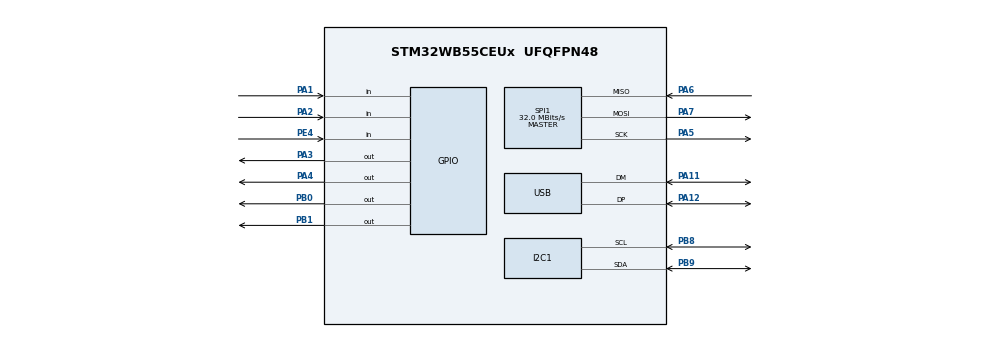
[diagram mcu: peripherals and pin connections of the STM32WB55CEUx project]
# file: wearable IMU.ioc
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I2C1.Timing=0x10B17DB5
Mcu.Family=STM32WB
Mcu.Name=STM32WB55CEUx
Mcu.Package=UFQFPN48
NVIC.PriorityGroup=NVIC_PRIORITYGROUP_4
NVIC.USB_LP_IRQn=true\:0\:0\:false\:false\:true\:false\:true\:true
OSC_IN.Mode=HSE-External-Oscillator
OSC_IN.Signal=RCC_OSC_IN
OSC_OUT.Mode=HSE-External-Oscillator
OSC_OUT.Signal=RCC_OSC_OUT
PA1.Signal=GPIO_Input
PA11.Mode=Device
PA11.Signal=USB_DM
PA12.Mode=Device
PA12.Signal=USB_DP
PA13.Mode=Trace_Asynchronous_SW
PA13.Signal=SYS_JTMS-SWDIO
PA14.Mode=Trace_Asynchronous_SW
PA14.Signal=SYS_JTCK-SWCLK
PA2.Signal=GPIO_Input
PA3.Signal=GPIO_Output
PA4.Signal=GPIO_Output
PA5.Mode=Full_Duplex_Master
PA5.Signal=SPI1_SCK
PA6.Mode=Full_Duplex_Master
PA6.Signal=SPI1_MISO
PA7.Mode=Full_Duplex_Master
PA7.Signal=SPI1_MOSI
PB0.Signal=GPIO_Output
PB1.Signal=GPIO_Output
PB3.Mode=Trace_Asynchronous_SW
PB3.Signal=SYS_JTDO-SWO
PB8.Mode=I2C
PB8.Signal=I2C1_SCL
PB9.Mode=I2C
PB9.Signal=I2C1_SDA
PC14-OSC32_IN.Mode=LSE-External-Oscillator
PC14-OSC32_IN.Signal=RCC_OSC32_IN
PC15-OSC32_OUT.Mode=LSE-External-Oscillator
PC15-OSC32_OUT.Signal=RCC_OSC32_OUT
PE4.Signal=GPIO_Input
ProjectManager.HeapSize=0x200
ProjectManager.StackSize=0x400
ProjectManager.TargetToolchain=STM32CubeIDE
RCC.ADCFreq_Value=48000000
RCC.AHB2CLKDivider=RCC_SYSCLK_DIV2
RCC.AHBFreq_Value=64000000
RCC.APB1Freq_Value=64000000
RCC.APB1TimFreq_Value=64000000
RCC.APB2Freq_Value=64000000
RCC.APB2TimFreq_Value=64000000
RCC.APB3Freq_Value=16000000
RCC.Cortex2_Div=SYSTICK_CLKSOURCE_HCLK_DIV8
RCC.CortexFreq_Value=64000000
RCC.HCLKFreq_Value=64000000
RCC.HSE_VALUE=32000000
RCC.HSI48_VALUE=48000000
RCC.HSI_VALUE=16000000
RCC.PLLN=32
RCC.PLLSAI1N=24
RCC.SYSCLKFreq_VALUE=64000000
RCC.SYSCLKSource=RCC_SYSCLKSOURCE_PLLCLK
RCC.USBFreq_Value=48000000
RCC.VCOOutputFreq_Value=128000000
SPI1.CalculateBaudRate=32.0 MBits/s
SPI1.Direction=SPI_DIRECTION_2LINES
SPI1.Mode=SPI_MODE_MASTER
SPI1.VirtualType=VM_MASTER
USB_DEVICE.CLASS_NAME_FS=CDC
USB_DEVICE.VirtualMode=Cdc
USB_DEVICE.VirtualModeFS=Cdc_FS
VP_MEMORYMAP_VS_MEMORYMAP.Mode=CurAppReg
VP_USB_DEVICE_VS_USB_DEVICE_CDC_FS.Mode=CDC_FS
board=custom

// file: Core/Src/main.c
/* USER CODE BEGIN Header */
/**
  ******************************************************************************
  * @file           : main.c
  * @brief          : Main program body
  ******************************************************************************
  * @attention
  *
  * Copyright (c) 2026 STMicroelectronics.
  * All rights reserved.
  *
  * This software is licensed under terms that can be found in the LICENSE file
  * in the root directory of this software component.
  * If no LICENSE file comes with this software, it is provided AS-IS.
  *
  ******************************************************************************
  */
/* USER CODE END Header */
#include "main.h"
#include "usb_device.h"

/* USER CODE BEGIN Includes */
#include "usbd_cdc_if.h"
#include <stdio.h>
#include <string.h>
#include "lsm6dsv16bx_reg.h"
#include "bmm350.h"
/* USER CODE END Includes */

/* USER CODE BEGIN PD */
#define LSM6_I2C_ADDR       0x6BU   /* SDO pin high */
#define BMM350_I2C_ADDR     BMM350_I2C_ADSEL_SET_LOW   /* 0x14: ADSEL pin low */
#define SENSOR_PERIOD_MS    20      /* 50 Hz */
/* USER CODE END PD */

I2C_HandleTypeDef hi2c1;

SPI_HandleTypeDef hspi1;

/* USER CODE BEGIN PV */
static stmdev_ctx_t lsm6_ctx;
static uint8_t lsm6_addr = LSM6_I2C_ADDR;
static struct bmm350_dev bmm350;
static uint8_t bmm350_addr = BMM350_I2C_ADDR;
/* USER CODE END PV */

void SystemClock_Config(void);
void PeriphCommonClock_Config(void);
static void MX_GPIO_Init(void);
static void MX_SPI1_Init(void);
static void MX_I2C1_Init(void);

/* USER CODE BEGIN 0 */

/* ── LSM6DSV16BX I2C callbacks ──────────────────────────────────────────── */
static int32_t lsm6_i2c_write(void *handle, uint8_t reg, const uint8_t *data, uint16_t len)
{
    uint8_t addr = *(uint8_t *)handle;
    HAL_StatusTypeDef st = HAL_I2C_Mem_Write(&hi2c1, (uint16_t)(addr << 1),
                                               reg, I2C_MEMADD_SIZE_8BIT,
                                               (uint8_t *)data, len, 100);
    return (st == HAL_OK) ? 0 : -1;
}

static int32_t lsm6_i2c_read(void *handle, uint8_t reg, uint8_t *data, uint16_t len)
{
    uint8_t addr = *(uint8_t *)handle;
    HAL_StatusTypeDef st = HAL_I2C_Mem_Read(&hi2c1, (uint16_t)(addr << 1),
                                              reg, I2C_MEMADD_SIZE_8BIT,
                                              data, len, 100);
    return (st == HAL_OK) ? 0 : -1;
}

static void lsm6_delay_ms(uint32_t ms)
{
    HAL_Delay(ms);
}

/* ── BMM350 I2C callbacks ────────────────────────────────────────────────── */
static BMM350_INTF_RET_TYPE bmm350_i2c_read(uint8_t reg_addr, uint8_t *reg_data, uint32_t len, void *intf_ptr)
{
    uint8_t addr = *(uint8_t *)intf_ptr;
    HAL_StatusTypeDef st = HAL_I2C_Mem_Read(&hi2c1, (uint16_t)(addr << 1),
                                              reg_addr, I2C_MEMADD_SIZE_8BIT,
                                              reg_data, (uint16_t)len, 100);
    return (st == HAL_OK) ? BMM350_OK : BMM350_E_COM_FAIL;
}

static BMM350_INTF_RET_TYPE bmm350_i2c_write(uint8_t reg_addr, const uint8_t *reg_data, uint32_t len, void *intf_ptr)
{
    uint8_t addr = *(uint8_t *)intf_ptr;
    HAL_StatusTypeDef st = HAL_I2C_Mem_Write(&hi2c1, (uint16_t)(addr << 1),
                                               reg_addr, I2C_MEMADD_SIZE_8BIT,
                                               (uint8_t *)reg_data, (uint16_t)len, 100);
    return (st == HAL_OK) ? BMM350_OK : BMM350_E_COM_FAIL;
}

static void bmm350_delay_cb(uint32_t period_us, void *intf_ptr)
{
    (void)intf_ptr;
    HAL_Delay((period_us + 999U) / 1000U);
}

/* ── CDC transmit with busy-retry ───────────────────────────────────────── */
static void cdc_send(uint8_t *buf, uint16_t len)
{
    uint8_t retries = 10;
    while (CDC_Transmit_FS(buf, len) == USBD_BUSY && retries--)
        HAL_Delay(1);
}

/* ── Sensor initialisation ──────────────────────────────────────────────── */
static void sensors_init(void)
{
    /* ── LSM6DSV16BX at 0x6B ── */
    lsm6_ctx.write_reg = lsm6_i2c_write;
    lsm6_ctx.read_reg  = lsm6_i2c_read;
    lsm6_ctx.mdelay    = lsm6_delay_ms;
    lsm6_ctx.handle    = &lsm6_addr;

    uint8_t who_am_i = 0;
    lsm6dsv16bx_device_id_get(&lsm6_ctx, &who_am_i);
    /* Expected: 0x71. If wrong, check SDO pin / I2C address. */

    lsm6dsv16bx_reset_set(&lsm6_ctx, LSM6DSV16BX_RESTORE_CTRL_REGS);
    lsm6dsv16bx_reset_t rst;
    do { lsm6dsv16bx_reset_get(&lsm6_ctx, &rst); } while (rst != LSM6DSV16BX_READY);

    lsm6dsv16bx_block_data_update_set(&lsm6_ctx, PROPERTY_ENABLE);
    lsm6dsv16bx_xl_data_rate_set(&lsm6_ctx, LSM6DSV16BX_XL_ODR_AT_120Hz);
    lsm6dsv16bx_xl_full_scale_set(&lsm6_ctx, LSM6DSV16BX_2g);
    lsm6dsv16bx_gy_data_rate_set(&lsm6_ctx, LSM6DSV16BX_GY_ODR_AT_120Hz);
    lsm6dsv16bx_gy_full_scale_set(&lsm6_ctx, LSM6DSV16BX_2000dps);

    /* ── BMM350 at 0x14 ── */
    bmm350.intf_ptr  = &bmm350_addr;
    bmm350.read      = bmm350_i2c_read;
    bmm350.write     = bmm350_i2c_write;
    bmm350.delay_us  = bmm350_delay_cb;

    bmm350_init(&bmm350);
    bmm350_set_odr_performance(BMM350_DATA_RATE_100HZ, BMM350_AVERAGING_4, &bmm350);
    bmm350_enable_axes(BMM350_X_EN, BMM350_Y_EN, BMM350_Z_EN, &bmm350);
    bmm350_set_powermode(BMM350_NORMAL_MODE, &bmm350);
}

/* USER CODE END 0 */

int main(void)
{

  /* MCU Configuration--------------------------------------------------------*/

  /* Reset of all peripherals, Initializes the Flash interface and the Systick. */
  HAL_Init();

  /* Configure the system clock */
  SystemClock_Config();

  /* Configure the peripherals common clocks */
  PeriphCommonClock_Config();

  /* Initialize all configured peripherals */
  MX_GPIO_Init();
  MX_SPI1_Init();
  MX_I2C1_Init();
  MX_USB_Device_Init();
  /* USER CODE BEGIN 2 */
  HAL_Delay(2000); /* wait for USB CDC to enumerate on host */
  sensors_init();
  /* USER CODE END 2 */

  /* Infinite loop */
  while (1)
  {

    /* USER CODE BEGIN 3 */
    static uint32_t tick = 0;
    int16_t raw_xl[3], raw_gy[3];
    struct bmm350_mag_temp_data mag;
    lsm6dsv16bx_data_ready_t drdy;
    char buf[128];
    int len;

    /* Heartbeat LED on PA3: 100ms on, 900ms off */
    tick++;
    if (tick == 1)
        HAL_GPIO_WritePin(GPIOA, GPIO_PIN_3, GPIO_PIN_SET);
    else if (tick >= 5)  /* 5 * 20ms = 100ms */
    {
        HAL_GPIO_WritePin(GPIOA, GPIO_PIN_3, GPIO_PIN_RESET);
        if (tick >= 50)  /* 50 * 20ms = 1000ms */
            tick = 0;
    }

    lsm6dsv16bx_flag_data_ready_get(&lsm6_ctx, &drdy);
    if (drdy.drdy_xl)
        lsm6dsv16bx_acceleration_raw_get(&lsm6_ctx, raw_xl);
    if (drdy.drdy_gy)
        lsm6dsv16bx_angular_rate_raw_get(&lsm6_ctx, raw_gy);

    bmm350_get_compensated_mag_xyz_temp_data(&mag, &bmm350);

    /* Serial Studio frame: start=SLASH*, end=*SLASH, comma-separated
     * Channels: ax ay az (raw LSB)  gx gy gz (raw LSB)  mx my mz (uT) */
    len = snprintf(buf, sizeof(buf),
                   "/*%d,%d,%d,%d,%d,%d,%.2f,%.2f,%.2f*/\r\n",
                   raw_xl[0], raw_xl[1], raw_xl[2],
                   raw_gy[0], raw_gy[1], raw_gy[2],
                   (double)mag.x, (double)mag.y, (double)mag.z);
    if (len > 0)
        cdc_send((uint8_t *)buf, (uint16_t)len);

    HAL_Delay(SENSOR_PERIOD_MS);
  }
  /* USER CODE END 3 */
}

void SystemClock_Config(void)
{
  RCC_OscInitTypeDef RCC_OscInitStruct = {0};
  RCC_ClkInitTypeDef RCC_ClkInitStruct = {0};

  /** Configure LSE Drive Capability
  */
  HAL_PWR_EnableBkUpAccess();
  __HAL_RCC_LSEDRIVE_CONFIG(RCC_LSEDRIVE_MEDIUMHIGH);

  /** Configure the main internal regulator output voltage
  */
  __HAL_PWR_VOLTAGESCALING_CONFIG(PWR_REGULATOR_VOLTAGE_SCALE1);

  /** Initializes the RCC Oscillators according to the specified parameters
  * in the RCC_OscInitTypeDef structure.
  */
  RCC_OscInitStruct.OscillatorType = RCC_OSCILLATORTYPE_HSI|RCC_OSCILLATORTYPE_HSE
                              |RCC_OSCILLATORTYPE_LSE|RCC_OSCILLATORTYPE_MSI;
  RCC_OscInitStruct.HSEState = RCC_HSE_ON;
  RCC_OscInitStruct.LSEState = RCC_LSE_ON;
  RCC_OscInitStruct.HSIState = RCC_HSI_ON;
  RCC_OscInitStruct.MSIState = RCC_MSI_ON;
  RCC_OscInitStruct.HSICalibrationValue = RCC_HSICALIBRATION_DEFAULT;
  RCC_OscInitStruct.MSICalibrationValue = RCC_MSICALIBRATION_DEFAULT;
  RCC_OscInitStruct.MSIClockRange = RCC_MSIRANGE_6;
  RCC_OscInitStruct.PLL.PLLState = RCC_PLL_ON;
  RCC_OscInitStruct.PLL.PLLSource = RCC_PLLSOURCE_MSI;
  RCC_OscInitStruct.PLL.PLLM = RCC_PLLM_DIV1;
  RCC_OscInitStruct.PLL.PLLN = 32;
  RCC_OscInitStruct.PLL.PLLP = RCC_PLLP_DIV2;
  RCC_OscInitStruct.PLL.PLLR = RCC_PLLR_DIV2;
  RCC_OscInitStruct.PLL.PLLQ = RCC_PLLQ_DIV2;
  if (HAL_RCC_OscConfig(&RCC_OscInitStruct) != HAL_OK)
  {
    Error_Handler();
  }

  /** Configure the SYSCLKSource, HCLK, PCLK1 and PCLK2 clocks dividers
  */
  RCC_ClkInitStruct.ClockType = RCC_CLOCKTYPE_HCLK4|RCC_CLOCKTYPE_HCLK2
                              |RCC_CLOCKTYPE_HCLK|RCC_CLOCKTYPE_SYSCLK
                              |RCC_CLOCKTYPE_PCLK1|RCC_CLOCKTYPE_PCLK2;
  RCC_ClkInitStruct.SYSCLKSource = RCC_SYSCLKSOURCE_PLLCLK;
  RCC_ClkInitStruct.AHBCLKDivider = RCC_SYSCLK_DIV1;
  RCC_ClkInitStruct.APB1CLKDivider = RCC_HCLK_DIV1;
  RCC_ClkInitStruct.APB2CLKDivider = RCC_HCLK_DIV1;
  RCC_ClkInitStruct.AHBCLK2Divider = RCC_SYSCLK_DIV2;
  RCC_ClkInitStruct.AHBCLK4Divider = RCC_SYSCLK_DIV1;

  if (HAL_RCC_ClockConfig(&RCC_ClkInitStruct, FLASH_LATENCY_3) != HAL_OK)
  {
    Error_Handler();
  }

  /** Enable MSI Auto calibration
  */
  HAL_RCCEx_EnableMSIPLLMode();
}

void PeriphCommonClock_Config(void)
{
  RCC_PeriphCLKInitTypeDef PeriphClkInitStruct = {0};

  /** Initializes the peripherals clock
  */
  PeriphClkInitStruct.PeriphClockSelection = RCC_PERIPHCLK_SMPS;
  PeriphClkInitStruct.SmpsClockSelection = RCC_SMPSCLKSOURCE_HSI;
  PeriphClkInitStruct.SmpsDivSelection = RCC_SMPSCLKDIV_RANGE1;

  if (HAL_RCCEx_PeriphCLKConfig(&PeriphClkInitStruct) != HAL_OK)
  {
    Error_Handler();
  }
}

static void MX_I2C1_Init(void)
{

  hi2c1.Instance = I2C1;
  hi2c1.Init.Timing = 0x10B17DB5;
  hi2c1.Init.OwnAddress1 = 0;
  hi2c1.Init.AddressingMode = I2C_ADDRESSINGMODE_7BIT;
  hi2c1.Init.DualAddressMode = I2C_DUALADDRESS_DISABLE;
  hi2c1.Init.OwnAddress2 = 0;
  hi2c1.Init.OwnAddress2Masks = I2C_OA2_NOMASK;
  hi2c1.Init.GeneralCallMode = I2C_GENERALCALL_DISABLE;
  hi2c1.Init.NoStretchMode = I2C_NOSTRETCH_DISABLE;
  if (HAL_I2C_Init(&hi2c1) != HAL_OK)
  {
    Error_Handler();
  }

  /** Configure Analogue filter
  */
  if (HAL_I2CEx_ConfigAnalogFilter(&hi2c1, I2C_ANALOGFILTER_ENABLE) != HAL_OK)
  {
    Error_Handler();
  }

  /** Configure Digital filter
  */
  if (HAL_I2CEx_ConfigDigitalFilter(&hi2c1, 0) != HAL_OK)
  {
    Error_Handler();
  }

}

static void MX_SPI1_Init(void)
{

  /* SPI1 parameter configuration*/
  hspi1.Instance = SPI1;
  hspi1.Init.Mode = SPI_MODE_MASTER;
  hspi1.Init.Direction = SPI_DIRECTION_2LINES;
  hspi1.Init.DataSize = SPI_DATASIZE_4BIT;
  hspi1.Init.CLKPolarity = SPI_POLARITY_LOW;
  hspi1.Init.CLKPhase = SPI_PHASE_1EDGE;
  hspi1.Init.NSS = SPI_NSS_SOFT;
  hspi1.Init.BaudRatePrescaler = SPI_BAUDRATEPRESCALER_2;
  hspi1.Init.FirstBit = SPI_FIRSTBIT_MSB;
  hspi1.Init.TIMode = SPI_TIMODE_DISABLE;
  hspi1.Init.CRCCalculation = SPI_CRCCALCULATION_DISABLE;
  hspi1.Init.CRCPolynomial = 7;
  hspi1.Init.CRCLength = SPI_CRC_LENGTH_DATASIZE;
  hspi1.Init.NSSPMode = SPI_NSS_PULSE_ENABLE;
  if (HAL_SPI_Init(&hspi1) != HAL_OK)
  {
    Error_Handler();
  }

}

static void MX_GPIO_Init(void)
{
  GPIO_InitTypeDef GPIO_InitStruct = {0};

  /* GPIO Ports Clock Enable */
  __HAL_RCC_GPIOC_CLK_ENABLE();
  __HAL_RCC_GPIOB_CLK_ENABLE();
  __HAL_RCC_GPIOA_CLK_ENABLE();
  __HAL_RCC_GPIOE_CLK_ENABLE();

  /*Configure GPIO pin Output Level */
  HAL_GPIO_WritePin(GPIOA, GPIO_PIN_3|GPIO_PIN_4, GPIO_PIN_RESET);

  /*Configure GPIO pin Output Level */
  HAL_GPIO_WritePin(GPIOB, GPIO_PIN_0|GPIO_PIN_1, GPIO_PIN_RESET);

  /*Configure GPIO pins : PA1 PA2 */
  GPIO_InitStruct.Pin = GPIO_PIN_1|GPIO_PIN_2;
  GPIO_InitStruct.Mode = GPIO_MODE_INPUT;
  GPIO_InitStruct.Pull = GPIO_NOPULL;
  HAL_GPIO_Init(GPIOA, &GPIO_InitStruct);

  /*Configure GPIO pins : PA3 PA4 */
  GPIO_InitStruct.Pin = GPIO_PIN_3|GPIO_PIN_4;
  GPIO_InitStruct.Mode = GPIO_MODE_OUTPUT_PP;
  GPIO_InitStruct.Pull = GPIO_NOPULL;
  GPIO_InitStruct.Speed = GPIO_SPEED_FREQ_LOW;
  HAL_GPIO_Init(GPIOA, &GPIO_InitStruct);

  /*Configure GPIO pins : PB0 PB1 */
  GPIO_InitStruct.Pin = GPIO_PIN_0|GPIO_PIN_1;
  GPIO_InitStruct.Mode = GPIO_MODE_OUTPUT_PP;
  GPIO_InitStruct.Pull = GPIO_NOPULL;
  GPIO_InitStruct.Speed = GPIO_SPEED_FREQ_LOW;
  HAL_GPIO_Init(GPIOB, &GPIO_InitStruct);

  /*Configure GPIO pin : PE4 */
  GPIO_InitStruct.Pin = GPIO_PIN_4;
  GPIO_InitStruct.Mode = GPIO_MODE_INPUT;
  GPIO_InitStruct.Pull = GPIO_NOPULL;
  HAL_GPIO_Init(GPIOE, &GPIO_InitStruct);

}

void Error_Handler(void)
{
  __disable_irq();
  while (1)
  {
  }
}
